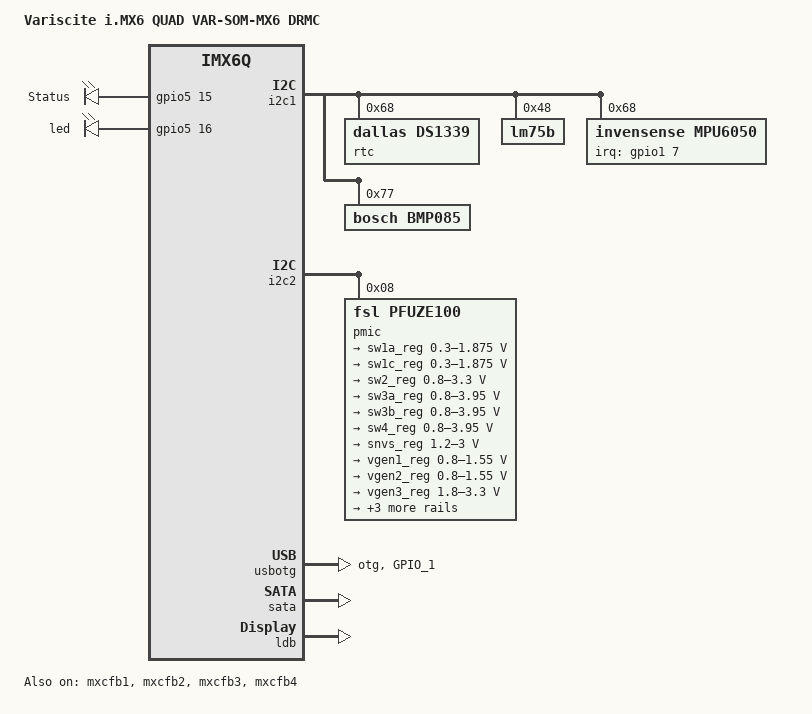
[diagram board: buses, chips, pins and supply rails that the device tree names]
/*
 * Copyright (C) 2014-2016 Variscite, Ltd. All Rights Reserved
 * Donio Ron: ron.d@variscite.com
 *
 * Copyright 2012 Freescale Semiconductor, Inc.
 * Copyright 2011 Linaro Ltd.
 *
 * The code contained herein is licensed under the GNU General Public
 * License. You may obtain a copy of the GNU General Public License
 * Version 2 or later at the following locations:
 *
 * http://www.opensource.org/licenses/gpl-license.html
 * http://www.gnu.org/copyleft/gpl.html
 */

/dts-v1/;

#include "imx6q.dtsi"
#include "imx6qdl-var-som.dtsi"

/ {
	model = "Variscite i.MX6 QUAD VAR-SOM-MX6 DRMC";
	compatible = "fsl,imx6q-var-som", "fsl,imx6q";

	backlight {
		brightness-levels = <0 1 2 3 4 5 6 7 8 9 10 11 12 13 14 15 16 17 18 19 20 21 22 23 24 25 26 27 28 29 30 31 32 33 34 35 36 37 38 39 40 41 42 43 44 45 46 47 48 49 50 51 52 53 54 55 56 57 58 59 60 61 62 63 64 65 66 67 68 69 70 71 72 73 74 75 76 77 78 79 80 81 82 83 84 85 86 87 88 89 90 91 92 93 94 95 96 97 98 99 100 101 102 103 104 105 106 107 108 109 110 111 112 113 114 115 116 117 118 119 120 121 122 123 124 125 126 127 128 129 130 131 132 133 134 135 136 137 138 139 140 141 142 143 144 145 146 147 148 149 150 151 152 153 154 155 156 157 158 159 160 161 162 163 164 165 166 167 168 169 170 171 172 173 174 175 176 177 178 179 180 181 182 183 184 185 186 187 188 189 190 191 192 193 194 195 196 197 198 199 200 201 202 203 204 205 206 207 208 209 210 211 212 213 214 215 216 217 218 219 220 221 222 223 224 225 226 227 228 229 230 231 232 233 234 235 236 237 238 239 240 241 242 243 244 245 246 247 248 249 250 251 251 252 253 254 255 >;
		default-brightness-level = <0>;
	};
	gpio-leds {
		compatible = "gpio-leds";
		pinctrl-names = "default";
		system-status {
			label = "Status";
			gpios = <&gpio5 15 0>;
			linux,default-trigger = "heartbeat";
			default-state = "off";
		};
		cpu-led {
			label = "led";
			gpios = <&gpio5 16 0>;
			linux,default-trigger = "cpu0";
			default-state = "off";
		};
	};
};

&cpu0 {
	operating-points = <
		/* kHz    uV */
		1200000 1350000
		996000  1250000
		852000  1250000
		792000  1175000
		396000  1175000
	>;
	fsl,soc-operating-points = <
		/* ARM kHz  SOC-PU uV */
		1200000 1350000
		996000	1250000
		852000	1250000
		792000	1175000
		396000	1175000
	>;
};

&iomuxc {
	imx6qdl-var-som-mx6 {
		pinctrl_usbotg_1: usbotggrp-1 {
			fsl,pins = <
				MX6QDL_PAD_GPIO_1__USB_OTG_ID		0x17059
			>;
		};

		pinctrl_ft5406_pins: ft5406_pins {
			fsl,pins = <
				MX6QDL_PAD_DISP0_DAT23__GPIO5_IO17	0x1B0B0
			>;
		};
	};
};

&i2c1 {

	ov564x_mipi: ov564x_mipi@3c {
		status = "disabled";
	};

	/* DS1339 RTC module */
        rtc@0x68 {
		compatible = "dallas,ds1339";
                reg = <0x68>;
		status = "okay";
        };
	lm75b@48 {
		compatible = "lm75b";
		reg = <0x48>;
		status = "okay";	
	};
	eeprom@50 {
		compatible = "24c256";
		reg = <0x50>;
		pagesize = <16>;
		status = "disabled";
	};
	mpu6050@68 {
		compatible = "invensense,mpu6050";
		reg = <0x68>;
		interrupt-parent = <&gpio1>;
		interrupts = <7 2>;
		invensense,int_config = <0x10>;
		invensense,level_shifter = <0>;
		invensense,orientation = [01 00 00 00 01 00 00 00 01];
		invensense,sec_slave_type = <0>;
		invensense,key = [4e cc 7e eb f6 1e 35 22 00 34 0d 65 32 e9 94 89];
		status = "okay";	
	};
	bmp085@77 {
		compatible = "bosch,bmp085";
		reg = <0x77>;
		chip-id = <10>;
		temp-measurement-period = <100>;
		default-oversampling = <2>;
		status = "okay";
	};
};

&i2c3 {
        /* DS1307 RTC module */
        rtc@0x68 {
		status = "disabled";
        };
};

&i2c2 {
	pmic: pfuze100@08 {
		compatible = "fsl,pfuze100";
		reg = <0x08>;
		regulators {
			sw1a_reg: sw1ab {
				regulator-min-microvolt = <300000>;
				regulator-max-microvolt = <1875000>;
				regulator-boot-on;
				regulator-always-on;
				regulator-ramp-delay = <6250>;
			};

			sw1c_reg: sw1c {
				regulator-min-microvolt = <300000>;
				regulator-max-microvolt = <1875000>;
				regulator-boot-on;
				regulator-always-on;
				regulator-ramp-delay = <6250>;
			};

			sw2_reg: sw2 {
				regulator-min-microvolt = <800000>;
				regulator-max-microvolt = <3300000>;
				regulator-boot-on;
				regulator-always-on;
			};

			sw3a_reg: sw3a {
				regulator-min-microvolt = <800000>;
				regulator-max-microvolt = <3950000>;
				regulator-boot-on;
				regulator-always-on;
			};

			sw3b_reg: sw3b {
				regulator-min-microvolt = <800000>;
				regulator-max-microvolt = <3950000>;
				regulator-boot-on;
				regulator-always-on;
			};

			sw4_reg: sw4 {
				regulator-min-microvolt = <800000>;
				regulator-max-microvolt = <3950000>;
			};

			snvs_reg: vsnvs {
				regulator-min-microvolt = <1200000>;
				regulator-max-microvolt = <3000000>;
				regulator-boot-on;
				regulator-always-on;
			};

			vref_reg: vrefddr {
				regulator-boot-on;
				regulator-always-on;
			};

			vgen1_reg: vgen1 {
				regulator-min-microvolt = <800000>;
				regulator-max-microvolt = <1550000>;
			};

			vgen2_reg: vgen2 {
				regulator-min-microvolt = <800000>;
				regulator-max-microvolt = <1550000>;
			};

			vgen3_reg: vgen3 {
				regulator-min-microvolt = <1800000>;
				regulator-max-microvolt = <3300000>;
				regulator-always-on;
				regulator-boot-on;
			};

			vgen4_reg: vgen4 {
				regulator-min-microvolt = <1800000>;
				regulator-max-microvolt = <3300000>;
				regulator-always-on;
				regulator-boot-on;
			};

			vgen5_reg: vgen5 {
				regulator-min-microvolt = <1800000>;
				regulator-max-microvolt = <3300000>;
				regulator-always-on;
				regulator-boot-on;
			};

			vgen6_reg: vgen6 {
				regulator-min-microvolt = <2800000>;
				regulator-max-microvolt = <2800000>;
				regulator-always-on;
				regulator-boot-on;
			};
		};
	};
};

&reg_usb_otg_vbus {
	gpio = <&gpio3 22 0>;
	enable-active-high;
};

&reg_usb_h1_vbus {
	gpio = <&gpio4 15 0>;
	enable-active-high;
};

&usbotg {
	pinctrl-0 = <&pinctrl_usbotg_1>;
	dr_mode = "otg"; /* Use "host" if you would like to use the USB0 type A connector */
};

&usdhc2 {       /* uSDHC2, MMC/SD card */
	wp-gpios = <>;
};

&mxcfb1 {
	interface_pix_fmt = "RGB24";
	status = "okay";
};

&mxcfb2 {
	status = "okay";
};

&mxcfb3 {
	status = "okay";
};

&mxcfb4 {
	status = "okay";
};

&sata {
	status = "okay";
};

&ldb {
	status = "okay";
	split-mode;
	lvds-channel@0 {
		fsl,data-mapping = "jeida";
		fsl,data-width = <24>;
		crtc = "ipu1-di0";
		primary;
		status = "okay";

	display-timings {
			native-mode = <&timingr0>;
			timingr0: hsd100pxn1 {
				clock-frequency = <148500000>;
				hactive = <1920>;
				vactive = <1080>;
				hback-porch = <0 44 60>;
				hfront-porch = <80 88 160>;
				vback-porch = <100 148 160>;
				vfront-porch = <0 4 6>;
				hsync-len = <0 36 50>;
				vsync-len = <0 5 6>;
			};
		};
	};

	lvds-channel@1 {
		fsl,data-mapping = "jeida";
		fsl,data-width = <24>;
		crtc = "ipu1-di1";
		status = "okay";

		display-timings {
			native-mode = <&timing1>;
			timing1: hsd100pxn1 {
				clock-frequency = <148500000>;
				hactive = <1920>;
				vactive = <1080>;
				hback-porch = <0 44 60>;
				hfront-porch = <80 88 160>;
				vback-porch = <100 148 160>;
				vfront-porch = <0 4 6>;
				hsync-len = <0 36 50>;
				vsync-len = <0 5 6>;
			};
		};
	};
};
